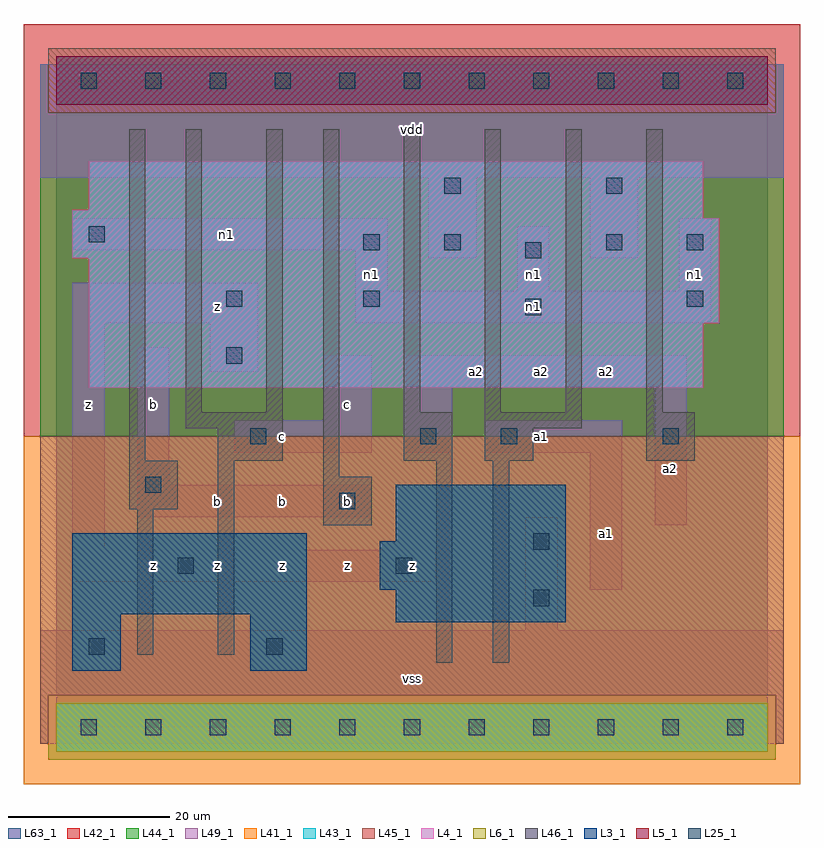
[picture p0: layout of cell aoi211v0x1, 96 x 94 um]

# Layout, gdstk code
import gdstk
lib = gdstk.Library(unit=1e-6, precision=1e-09)
def R(c, l, rs):  # rectangles x0, y0, x1, y1
    for r in rs: c.add(gdstk.rectangle(r[:2], r[2:], *l))
def A(c, l, x, y, w, h, nx, ny, dx, dy):  # array of equal rectangles
    R(c, l, [(x+i*dx, y+j*dy, x+i*dx+w, y+j*dy+h) for i in range(nx) for j in range(ny)])
L3_1 = (3, 1)
L4_1 = (4, 1)
L5_1 = (5, 1)
L6_1 = (6, 1)
L25_1 = (25, 1)
L41_1 = (41, 1)
L42_1 = (42, 1)
L43_1 = (43, 1)
L44_1 = (44, 1)
L45_1 = (45, 1)
L46_1 = (46, 1)
L49_1 = (49, 1)
L63_1 = (63, 1)

aoi211v0x1 = lib.new_cell('aoi211v0x1')
R(aoi211v0x1, L3_1, [(2,7,8,14), (24,7,31,14), (42,13,63,17), (2,14,31,24), (40,17,63,23), (42,23,63,30)])
R(aoi211v0x1, L4_1, [(4,42,80,50), (4,50,82,58), (2,58,82,63), (2,63,80,64), (4,64,80,70)])
R(aoi211v0x1, L5_1, [(0,77,88,83)])
R(aoi211v0x1, L6_1, [(0,-3,88,3), (0,-3,88,3)])
A(aoi211v0x1, L25_1, 3, -1, 2, 2, 11, 2, 8, 80)
R(aoi211v0x1, L25_1, [(4,9,6,11), (26,9,28,11), (59,15,61,17), (15,19,17,21), (42,19,44,21), (59,22,61,24), (35,27,37,29), (11,29,13,31), (24,35,26,37), (45,35,47,37), (55,35,57,37), (75,35,77,37), (21,45,23,47), (58,51,60,53), (21,52,23,54), (38,52,40,54), (78,52,80,54), (58,58,60,60), (38,59,40,61), (48,59,50,61), (68,59,70,61), (78,59,80,61), (4,60,6,62), (48,66,50,68), (68,66,70,68)])
R(aoi211v0x1, L41_1, [(-4,-7,92,36)])
R(aoi211v0x1, L42_1, [(-4,36,92,87)])
R(aoi211v0x1, L43_1, [(0,-3,88,3), (2,7,8,14), (24,7,31,14), (42,13,63,17), (2,14,31,24), (40,17,63,23), (42,23,63,30), (4,42,80,50), (4,50,82,58), (2,58,82,63), (2,63,80,64), (4,64,80,70), (0,77,88,83)])
R(aoi211v0x1, L44_1, [(-1,-4,89,4), (-2,36,90,76), (-2,76,-1,82), (89,76,90,82)])
R(aoi211v0x1, L45_1, [(-2,-2,-1,4), (89,-2,90,4), (-2,4,90,36), (-1,76,89,84)])
A(aoi211v0x1, L46_1, 43, 39, 2, 35, 4, 1, 10, 0)
R(aoi211v0x1, L46_1, [(47,8,49,33), (54,8,56,33), (10,9,12,27), (20,9,22,33), (33,25,39,31), (9,27,15,33), (33,31,35,74), (9,33,11,74), (20,33,28,37), (43,33,49,39), (53,33,59,37), (73,33,79,39), (16,37,28,39), (53,37,65,39), (16,39,18,74), (26,39,28,74)])
R(aoi211v0x1, L49_1, [(-2,-2,90,12), (58,12,62,26), (66,17,70,34), (2,18,47,22), (2,22,6,50), (74,25,78,42), (10,26,39,30), (10,30,14,47), (22,34,39,38), (43,34,49,42), (53,34,70,38), (33,38,39,46), (43,42,78,46), (19,44,25,50), (2,50,25,55), (37,50,81,54), (37,54,41,59), (57,54,61,62), (77,54,81,63), (46,58,52,68), (66,58,72,68), (2,59,41,63), (-2,68,90,82)])
R(aoi211v0x1, L63_1, [(0,0,88,80)])
aoi211v0x1.add(gdstk.Label('z', (12,20), layer=49, texttype=1))
aoi211v0x1.add(gdstk.Label('z', (4,40), layer=49, texttype=1))
aoi211v0x1.add(gdstk.Label('b', (12,40), layer=49, texttype=1))
aoi211v0x1.add(gdstk.Label('z', (20,20), layer=49, texttype=1))
aoi211v0x1.add(gdstk.Label('b', (20,28), layer=49, texttype=1))
aoi211v0x1.add(gdstk.Label('z', (28,20), layer=49, texttype=1))
aoi211v0x1.add(gdstk.Label('b', (28,28), layer=49, texttype=1))
aoi211v0x1.add(gdstk.Label('c', (28,36), layer=49, texttype=1))
aoi211v0x1.add(gdstk.Label('z', (20,52), layer=49, texttype=1))
aoi211v0x1.add(gdstk.Label('vss', (44,6), layer=49, texttype=1))
aoi211v0x1.add(gdstk.Label('z', (36,20), layer=49, texttype=1))
aoi211v0x1.add(gdstk.Label('b', (36,28), layer=49, texttype=1))
aoi211v0x1.add(gdstk.Label('z', (44,20), layer=49, texttype=1))
aoi211v0x1.add(gdstk.Label('c', (36,40), layer=49, texttype=1))
aoi211v0x1.add(gdstk.Label('n1', (39,56), layer=49, texttype=1))
aoi211v0x1.add(gdstk.Label('n1', (21,61), layer=49, texttype=1))
aoi211v0x1.add(gdstk.Label('vdd', (44,74), layer=49, texttype=1))
aoi211v0x1.add(gdstk.Label('a1', (68,24), layer=49, texttype=1))
aoi211v0x1.add(gdstk.Label('a2', (52,44), layer=49, texttype=1))
aoi211v0x1.add(gdstk.Label('a1', (60,36), layer=49, texttype=1))
aoi211v0x1.add(gdstk.Label('a2', (60,44), layer=49, texttype=1))
aoi211v0x1.add(gdstk.Label('a2', (68,44), layer=49, texttype=1))
aoi211v0x1.add(gdstk.Label('n1', (59,56), layer=49, texttype=1))
aoi211v0x1.add(gdstk.Label('a2', (76,32), layer=49, texttype=1))
aoi211v0x1.add(gdstk.Label('n1', (79,56), layer=49, texttype=1))
aoi211v0x1.add(gdstk.Label('n1', (59,52), layer=49, texttype=1))

lib.write_gds('aoi211v0x1.gds')
